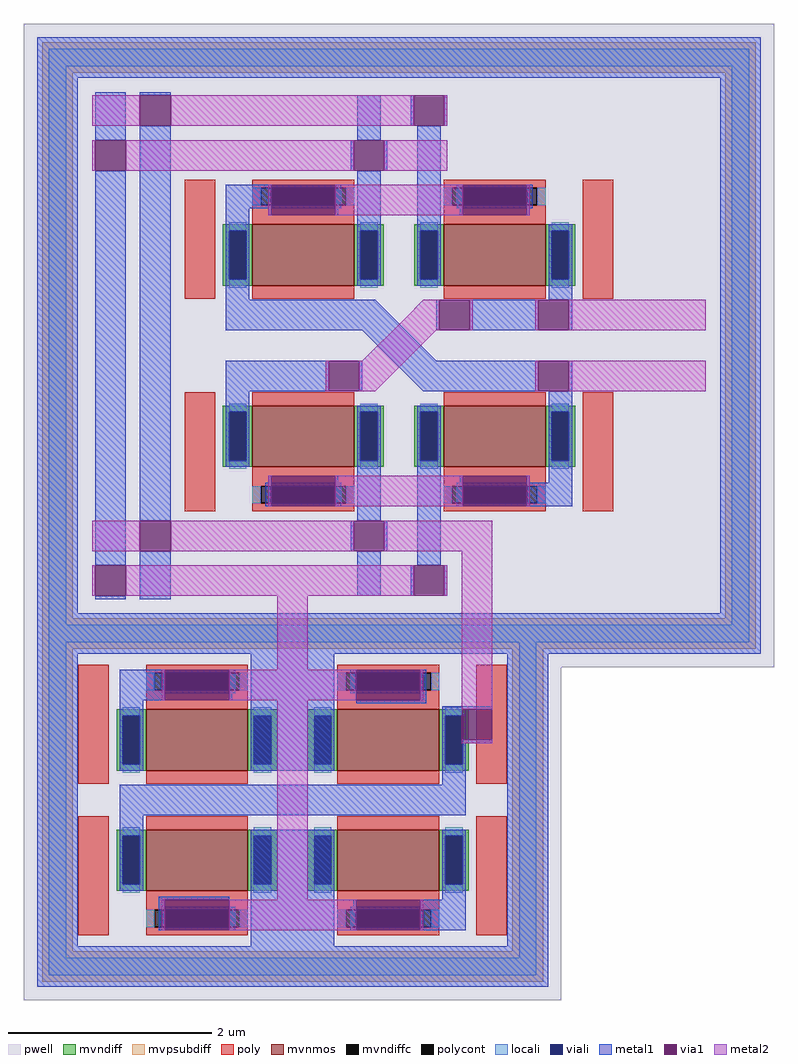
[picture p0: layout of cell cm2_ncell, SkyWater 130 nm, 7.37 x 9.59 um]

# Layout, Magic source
magic
tech sky130A
magscale 1 2
<< metal1 >>
rect 797 -75 895 -69
rect 835 -141 895 -135
<< via1 >>
rect 835 -135 895 -75
<< metal2 >>
rect 807 236 895 296
rect 473 -57 533 205
rect 835 -75 895 236
rect 835 -141 895 -135
use cm2_ncell1  cm2_ncell1_0
transform 1 0 -2739 0 1 -2237
box 2714 1591 3770 2377
use cm2_ncell2  cm2_ncell2_0
transform 1 0 31 0 1 646
box -56 -638 1418 626
<< end >>

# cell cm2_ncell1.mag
magic
tech sky130A
magscale 1 2
<< pwell >>
rect 2714 1591 3770 2377
<< mvpsubdiff >>
rect 2750 1973 2810 1995
rect 3674 1973 3734 1995
<< locali >>
rect 2763 1973 2797 1995
rect 3687 1973 3721 1995
<< metal1 >>
rect 3536 2014 3582 2042
rect 2740 1973 2820 1995
rect 2902 1954 3582 2014
rect 3664 1973 3744 1995
rect 2902 1926 2948 1954
<< metal2 >>
rect 3212 1728 3272 2240
use cm2_ncell1_cell  cm2_ncell1_cell_0
transform 1 0 985 0 1 1198
box 1755 797 2759 1153
use cm2_ncell1_cell  cm2_ncell1_cell_1
transform -1 0 5499 0 -1 2770
box 1755 797 2759 1153
<< end >>

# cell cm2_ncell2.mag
magic
tech sky130A
magscale 1 2
<< pwell >>
rect -56 -638 1418 626
<< metal1 >>
rect 84 398 144 492
rect 84 -438 144 338
rect 84 -504 144 -498
rect 172 486 232 492
rect 172 -350 232 426
rect 599 398 645 486
rect 704 426 710 486
rect 770 426 776 486
rect 586 338 592 398
rect 652 338 658 398
rect 599 232 645 338
rect 717 232 763 426
rect 341 84 387 112
rect 975 84 1021 112
rect 341 24 537 84
rect 826 24 955 84
rect 1015 24 1021 84
rect 341 -96 537 -36
rect 826 -96 955 -36
rect 1015 -96 1021 -36
rect 341 -124 387 -96
rect 975 -124 1021 -96
rect 599 -350 645 -244
rect 586 -410 592 -350
rect 652 -410 658 -350
rect 172 -504 232 -410
rect 599 -498 645 -410
rect 717 -438 763 -239
rect 704 -498 710 -438
rect 770 -498 776 -438
<< via1 >>
rect 84 338 144 398
rect 84 -498 144 -438
rect 172 426 232 486
rect 710 426 770 486
rect 592 338 652 398
rect 955 24 1015 84
rect 955 -96 1015 -36
rect 172 -410 232 -350
rect 592 -410 652 -350
rect 710 -498 770 -438
<< metal2 >>
rect 78 426 172 486
rect 232 426 710 486
rect 770 426 776 486
rect 78 338 84 398
rect 144 338 592 398
rect 652 338 776 398
rect 949 24 955 84
rect 1015 24 1284 84
rect 949 -96 955 -36
rect 1015 -96 1284 -36
rect 78 -410 172 -350
rect 232 -410 592 -350
rect 652 -410 776 -350
rect 78 -498 84 -438
rect 144 -498 710 -438
rect 770 -498 776 -438
use cm2_ncell2_ncell  cm2_ncell2_ncell_0
transform 1 0 -1062 0 1 -181
box 1032 175 2454 781
use cm2_ncell2_ncell  cm2_ncell2_ncell_1
transform -1 0 2424 0 -1 169
box 1032 175 2454 781
use cross_pair  cross_pair_0
transform 1 0 -35577 0 1 -1951
box 36114 1855 36403 2035
<< end >>

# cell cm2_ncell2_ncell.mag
magic
tech sky130A
magscale 1 2
<< mvpsubdiff >>
rect 1042 711 2444 771
rect 1042 175 1102 711
rect 2384 175 2444 711
<< poly >>
rect 1322 267 1382 501
rect 2104 267 2164 501
<< locali >>
rect 1055 724 2431 758
rect 1055 175 1089 724
rect 2397 175 2431 724
<< metal1 >>
rect 1032 701 2454 781
rect 1032 175 1112 701
rect 1403 445 1480 491
rect 1403 413 1449 445
rect 1486 431 1492 491
rect 1618 431 1624 491
rect 1862 431 1868 491
rect 1994 431 2000 491
rect 2374 175 2454 701
<< via1 >>
rect 1492 431 1618 491
rect 1868 431 1994 491
<< metal2 >>
rect 1486 431 1492 491
rect 1618 431 1868 491
rect 1994 431 2000 491
use sky130_fd_pr__nfet_g5v0d10v5_QKV39N  sky130_fd_pr__nfet_g5v0d10v5_QKV39N_0
transform 1 0 1555 0 1 384
box -158 -117 158 117
use sky130_fd_pr__nfet_g5v0d10v5_QKV39N  sky130_fd_pr__nfet_g5v0d10v5_QKV39N_1
transform 1 0 1931 0 1 384
box -158 -117 158 117
<< end >>

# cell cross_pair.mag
magic
tech sky130A
magscale 1 2
<< metal1 >>
rect 36114 1975 36211 2035
tri 36211 1975 36271 2035 sw
rect 36331 1975 36337 2035
rect 36397 1975 36403 2035
rect 36114 1855 36120 1915
rect 36180 1855 36186 1915
tri 36186 1890 36271 1975 ne
tri 36271 1915 36331 1975 sw
rect 36271 1890 36403 1915
tri 36271 1855 36306 1890 ne
rect 36306 1855 36403 1890
<< via1 >>
rect 36337 1975 36397 2035
rect 36120 1855 36180 1915
<< metal2 >>
tri 36271 2000 36306 2035 se
rect 36306 2000 36337 2035
tri 36186 1915 36271 2000 se
rect 36271 1975 36337 2000
rect 36397 1975 36403 2035
tri 36271 1915 36331 1975 nw
rect 36114 1855 36120 1915
rect 36180 1855 36211 1915
tri 36211 1855 36271 1915 nw
<< end >>

# cell sky130_fd_pr__nfet_g5v0d10v5_QKV39N: kit device sky130_fd_pr__nfet_g5v0d10v5, w 0.6 l 1 m 1 nf 1 diffcov 100 polycov 100 guard 0 glc 1 grc 1 gtc 1 gbc 1 tbcov 100 rlcov 100 topc 1 botc 0 poverlap 0 doverlap 1 lmin 0.50 wmin 0.42 compatible {sky130_fd_pr__nfet_01v8 sky130_fd_pr__nfet_01v8_lvt sky130_fd_bs_flash__special_sonosfet_star sky130_fd_pr__nfet_g5v0d10v5 sky130_fd_pr__nfet_05v0_nvt sky130_fd_pr__nfet_03v3_nvt} full_metal 1 viasrc 100 viadrn 100 viagate 75 viagb 0 viagr 0 viagl 0 viagt 0

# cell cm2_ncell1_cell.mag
magic
tech sky130A
magscale 1 2
<< mvpsubdiff >>
rect 1765 1083 2749 1143
rect 1765 797 1825 1083
rect 2689 797 2749 1083
<< poly >>
rect 1836 818 1896 1052
rect 2618 818 2678 1052
<< locali >>
rect 1778 1096 2736 1130
rect 1778 797 1812 1096
rect 2702 797 2736 1096
<< metal1 >>
rect 1755 1073 2759 1153
rect 1755 797 1835 1073
rect 1917 1018 2000 1042
rect 1917 982 2006 1018
rect 2132 982 2138 1018
rect 1917 964 1963 982
rect 2175 844 2339 1073
rect 2508 982 2520 1012
rect 2382 976 2520 982
rect 2679 797 2759 1073
<< via1 >>
rect 2006 982 2132 1042
rect 2382 982 2508 1042
<< metal2 >>
rect 2000 982 2006 1042
rect 2132 982 2382 1042
rect 2508 982 2514 1042
use sky130_fd_pr__nfet_g5v0d10v5_QKV39N  sky130_fd_pr__nfet_g5v0d10v5_QKV39N_0 ~/10-bit-DAC/mag
transform 1 0 2069 0 1 935
box -158 -117 158 117
use sky130_fd_pr__nfet_g5v0d10v5_QKV39N  sky130_fd_pr__nfet_g5v0d10v5_QKV39N_1
transform 1 0 2445 0 1 935
box -158 -117 158 117
<< end >>
